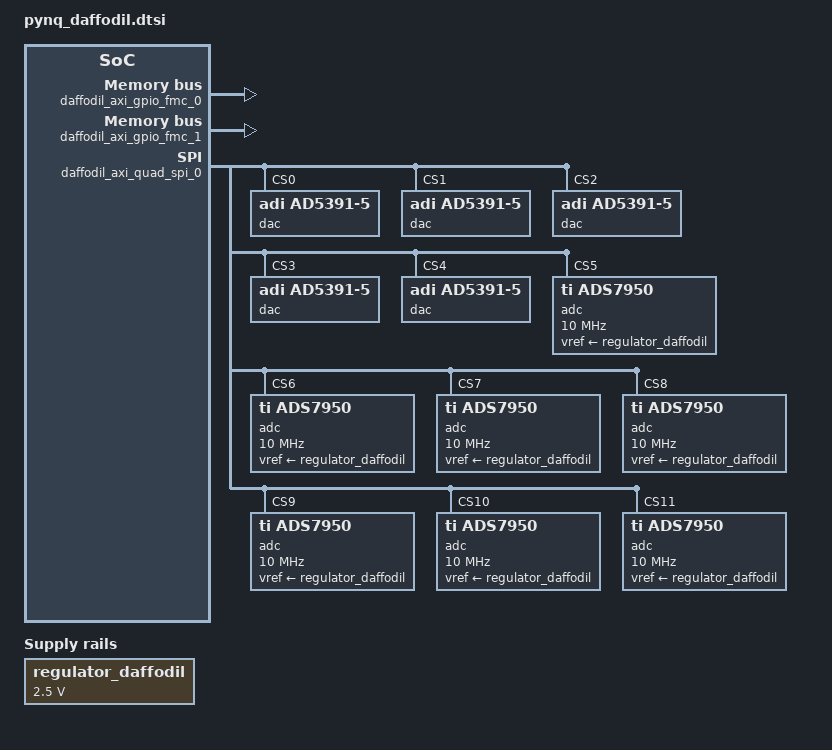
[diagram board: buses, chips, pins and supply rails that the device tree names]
/ {
	regulator_daffodil: regulator-vref {
		compatible = "regulator-fixed";
		regulator-name = "vref";
		regulator-min-microvolt = <0x2625a0>; /*2.5 V - as required by the ADCs we have*/
		regulator-max-microvolt = <0x2625a0>;
		regulator-always-on;
	};
	
	amba_pl: amba_pl {
		#address-cells = <1>;
		#size-cells = <1>;
		compatible = "simple-bus";
		ranges ;
		daffodil_axi_gpio_fmc_0: gpio@81230000 {
			#gpio-cells = <2>;
			clock-names = "s_axi_aclk";
			status = "okay";
			clocks = <&clkc 15>;
			// compatible = "xlnx,axi-gpio-2.0", "xlnx,xps-gpio-1.00.a";
			gpio-controller ;
			reg = <0x81230000 0x10000>;
			xlnx,all-inputs = <0x0>;
			xlnx,all-inputs-2 = <0x0>;
			xlnx,all-outputs = <0x0>;
			xlnx,all-outputs-2 = <0x0>;
			xlnx,dout-default = <0x00000000>;
			xlnx,dout-default-2 = <0x00000000>;
			xlnx,gpio-width = <0x20>;
			xlnx,gpio2-width = <0x20>;
			xlnx,interrupt-present = <0x0>;
			xlnx,is-dual = <0x1>;
			xlnx,tri-default = <0xFFFFFFFF>;
			xlnx,tri-default-2 = <0xFFFFFFFF>;
		};
		daffodil_axi_gpio_fmc_1: gpio@81240000 {
			#gpio-cells = <2>;
			clock-names = "s_axi_aclk";
			status = "okay";
			clocks = <&clkc 15>;
			// compatible = "xlnx,axi-gpio-2.0", "xlnx,xps-gpio-1.00.a";
			gpio-controller ;
			reg = <0x81240000 0x10000>;
			xlnx,all-inputs = <0x0>;
			xlnx,all-inputs-2 = <0x0>;
			xlnx,all-outputs = <0x0>;
			xlnx,all-outputs-2 = <0x0>;
			xlnx,dout-default = <0x00000000>;
			xlnx,dout-default-2 = <0x00000000>;
			xlnx,gpio-width = <0x20>;
			xlnx,gpio2-width = <0x20>;
			xlnx,interrupt-present = <0x0>;
			xlnx,is-dual = <0x0>;
			xlnx,tri-default = <0xFFFFFFFF>;
			xlnx,tri-default-2 = <0xFFFFFFFF>;
		};
		daffodil_axi_intc_0: interrupt-controller@81800000 {
			#interrupt-cells = <2>;
			clock-names = "s_axi_aclk";
			clocks = <&clkc 15>;
			compatible = "xlnx,axi-intc-4.1", "xlnx,xps-intc-1.00.a";
			interrupt-controller ;
			interrupt-names = "irq";
			interrupt-parent = <&intc>;
			interrupts = <0 29 4>;
			reg = <0x81800000 0x10000>;
			xlnx,kind-of-intr = <0x1>;
			xlnx,num-intr-inputs = <0x1>;
		};
		daffodil_axi_quad_spi_0: axi_quad_spi@81e00000 {
			#address-cells = <0x1>; 
			#size-cells = <0x0>;
			bits-per-word = <16>;
			clock-names = "ext_spi_clk", "s_axi_aclk";
			clocks = <&clkc 15>, <&clkc 15>;
			compatible = "xlnx,axi-quad-spi-3.2", "xlnx,xps-spi-2.00.a";
			fifo-size = <256>;
			interrupt-names = "ip2intc_irpt";
			interrupt-parent = <&daffodil_axi_intc_0>;
			interrupts = <0 0>;
			num-cs = <0xc>;
			reg = <0x81e00000 0x10000>;
			xlnx,num-ss-bits = <0xc>;
			xlnx,spi-mode = <0>;

			dac@0 {
				reg = <0x00>;
				compatible = "adi,ad5391-5";
			};
			dac@1 {
				reg = <0x01>;
				compatible = "adi,ad5391-5";
			};
			dac@2 {
				reg = <0x02>;
				compatible = "adi,ad5391-5";
			};
			dac@3 {
				reg = <0x03>;
				compatible = "adi,ad5391-5";
			};
			dac@4 {
				reg = <0x04>;
				compatible = "adi,ad5391-5";
			};
			adc@5 {
				compatible = "ti,ads7950";
				reg = <0x05>;
				#io-channel-cells = <0x01>;
				spi-max-frequency = <0x989680>;
				vref-supply = <&regulator_daffodil>;
			};
			adc@6 {
				compatible = "ti,ads7950";
				reg = <0x06>;
				#io-channel-cells = <0x01>;
				spi-max-frequency = <0x989680>;
				vref-supply = <&regulator_daffodil>;
			};
			adc@7 {
				compatible = "ti,ads7950";
				reg = <0x07>;
				#io-channel-cells = <0x01>;
				spi-max-frequency = <0x989680>;
				vref-supply = <&regulator_daffodil>;
			};
			adc@8 {
				compatible = "ti,ads7950";
				reg = <0x08>;
				#io-channel-cells = <0x01>;
				spi-max-frequency = <0x989680>;
				vref-supply = <&regulator_daffodil>;
			};
			adc@9 {
				compatible = "ti,ads7950";
				reg = <0x09>;
				#io-channel-cells = <0x01>;
				spi-max-frequency = <0x989680>;
				vref-supply = <&regulator_daffodil>;
			};
			adc@10 {
				compatible = "ti,ads7950";
				reg = <0x0a>;
				#io-channel-cells = <0x01>;
				spi-max-frequency = <0x989680>;
				vref-supply = <&regulator_daffodil>;
			};
			adc@11 {
				compatible = "ti,ads7950";
				reg = <0x0b>;
				#io-channel-cells = <0x01>;
				spi-max-frequency = <0x989680>;
				vref-supply = <&regulator_daffodil>;
			};
		};
		onboard_gpio_axi_gpio_0: gpio@81200000 {
			#gpio-cells = <2>;
			clock-names = "s_axi_aclk";
			clocks = <&clkc 15>;
			compatible = "xlnx,axi-gpio-2.0", "xlnx,xps-gpio-1.00.a";
			gpio-controller ;
			reg = <0x81200000 0x10000>;
			xlnx,all-inputs = <0x1>;
			xlnx,all-inputs-2 = <0x0>;
			xlnx,all-outputs = <0x0>;
			xlnx,all-outputs-2 = <0x0>;
			xlnx,dout-default = <0x00000000>;
			xlnx,dout-default-2 = <0x00000000>;
			xlnx,gpio-width = <0x8>;
			xlnx,gpio2-width = <0x20>;
			xlnx,interrupt-present = <0x0>;
			xlnx,is-dual = <0x0>;
			xlnx,tri-default = <0xFFFFFFFF>;
			xlnx,tri-default-2 = <0xFFFFFFFF>;
		};
		onboard_gpio_axi_gpio_1: gpio@81210000 {
			#gpio-cells = <2>;
			clock-names = "s_axi_aclk";
			clocks = <&clkc 15>;
			compatible = "xlnx,axi-gpio-2.0", "xlnx,xps-gpio-1.00.a";
			gpio-controller ;
			reg = <0x81210000 0x10000>;
			xlnx,all-inputs = <0x0>;
			xlnx,all-inputs-2 = <0x0>;
			xlnx,all-outputs = <0x1>;
			xlnx,all-outputs-2 = <0x0>;
			xlnx,dout-default = <0x00000000>;
			xlnx,dout-default-2 = <0x00000000>;
			xlnx,gpio-width = <0x8>;
			xlnx,gpio2-width = <0x20>;
			xlnx,interrupt-present = <0x0>;
			xlnx,is-dual = <0x0>;
			xlnx,tri-default = <0xFFFFFFFF>;
			xlnx,tri-default-2 = <0xFFFFFFFF>;
		};
		onboard_gpio_axi_gpio_2: gpio@81220000 {
			#gpio-cells = <2>;
			clock-names = "s_axi_aclk";
			clocks = <&clkc 15>;
			compatible = "xlnx,axi-gpio-2.0", "xlnx,xps-gpio-1.00.a";
			gpio-controller ;
			reg = <0x81220000 0x10000>;
			xlnx,all-inputs = <0x1>;
			xlnx,all-inputs-2 = <0x0>;
			xlnx,all-outputs = <0x0>;
			xlnx,all-outputs-2 = <0x0>;
			xlnx,dout-default = <0x00000000>;
			xlnx,dout-default-2 = <0x00000000>;
			xlnx,gpio-width = <0x3>;
			xlnx,gpio2-width = <0x20>;
			xlnx,interrupt-present = <0x0>;
			xlnx,is-dual = <0x0>;
			xlnx,tri-default = <0xFFFFFFFF>;
			xlnx,tri-default-2 = <0xFFFFFFFF>;
		};
	};
};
